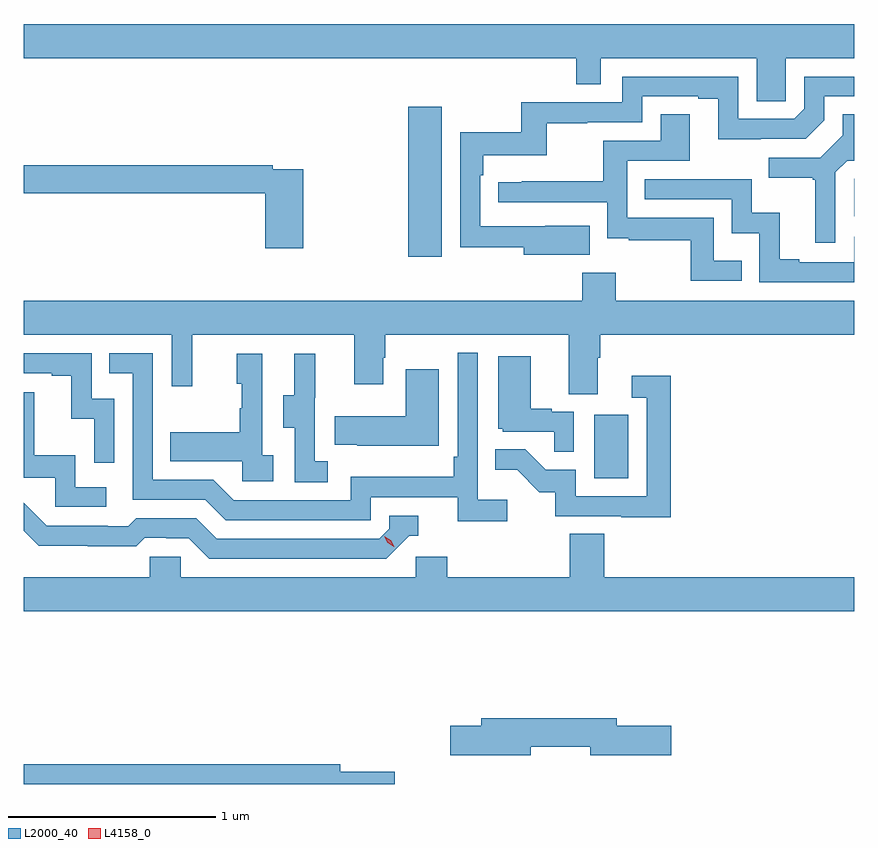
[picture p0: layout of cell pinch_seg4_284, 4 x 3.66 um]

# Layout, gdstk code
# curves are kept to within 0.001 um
import gdstk
lib = gdstk.Library(unit=1e-6, precision=1e-09)
def R(c, l, rs):  # rectangles x0, y0, x1, y1
    for r in rs: c.add(gdstk.rectangle(r[:2], r[2:], *l))
def P(c, l, *ps):  # polygons
    for p in ps: c.add(gdstk.Polygon(p, *l))
L2000_40 = (2000, 40)
L4158_0 = (4158, 0)

pinch_seg4_284 = lib.new_cell('pinch_seg4_284')
R(pinch_seg4_284, L2000_40, [(926.822,810.78,926.986,811.087), (925.928,811.848,926.089,812.569), (928.074,812.043,928.075,812.223)])
P(pinch_seg4_284, L2000_40, [(927.744,812.804),(928.075,812.804),(928.075,812.968),(924.075,812.968),(924.075,812.804),(926.737,812.804),(926.737,812.677),(926.853,812.677),(926.853,812.804),(927.605,812.804),(927.605,812.596),(927.744,812.596)],
  [(926.801,811.996),(926.274,811.995),(926.274,812.24),(926.288,812.24),(926.288,812.336),(926.593,812.336),(926.593,812.491),(926.789,812.491),(926.789,812.496),(927.054,812.496),(927.054,812.619),(927.323,812.619),(927.323,812.607),(927.419,812.607),(927.419,812.414),(927.84,812.415),(927.93,812.505),(927.93,812.619),(928.075,812.619),(928.075,812.715),(927.834,812.715),(927.834,812.559),(927.786,812.511),(927.516,812.511),(927.516,812.715),(926.958,812.715),(926.958,812.592),(926.472,812.592),(926.472,812.446),(926.178,812.446),(926.178,811.894),(926.483,811.894),(926.483,811.856),(926.801,811.856)],
  [(927.533,811.828),(927.399,811.828),(927.399,812.034),(926.982,812.034),(926.982,812.31),(927.283,812.31),(927.283,812.534),(927.143,812.534),(927.143,812.406),(926.866,812.406),(926.866,812.21),(926.473,812.21),(926.473,812.205),(926.361,812.205),(926.361,812.109),(926.886,812.109),(926.886,811.937),(926.989,811.937),(926.989,811.926),(927.288,811.926),(927.288,811.731),(927.533,811.731)],
  [(927.984,812.253),(928.041,812.31),(928.075,812.31),(928.075,812.534),(928.019,812.534),(928.019,812.432),(927.912,812.325),(927.663,812.325),(927.663,812.228),(927.876,812.228),(927.876,812.217),(927.887,812.217),(927.887,811.914),(927.984,811.914)],
  [(925.421,812.268),(925.274,812.268),(925.274,812.288),(924.075,812.288),(924.075,812.152),(925.238,812.152),(925.238,811.887),(925.421,811.887)],
  [(928.075,811.944),(928.074,811.944),(928.074,811.821),(927.811,811.821),(927.811,811.834),(927.715,811.834),(927.715,812.059),(927.582,812.059),(927.582,812.22),(927.067,812.22),(927.067,812.124),(927.486,812.124),(927.486,811.961),(927.618,811.961),(927.618,811.725),(928.075,811.725)],
  [(926.839,811.36),(926.852,811.36),(926.852,811.472),(928.075,811.472),(928.075,811.636),(926.925,811.636),(926.925,811.771),(926.765,811.771),(926.765,811.636),(924.075,811.636),(924.075,811.472),(924.789,811.472),(924.789,811.224),(924.887,811.224),(924.887,811.472),(925.667,811.472),(925.667,811.233),(925.807,811.233),(925.807,811.361),(925.815,811.361),(925.815,811.472),(926.699,811.472),(926.699,811.186),(926.839,811.186)],
  [(926.404,810.676),(926.262,810.676),(926.262,811.384),(926.166,811.384),(926.166,810.883),(926.146,810.883),(926.146,810.787),(925.65,810.787),(925.65,810.675),(925.086,810.675),(924.987,810.774),(924.696,810.774),(924.696,811.383),(924.487,811.383),(924.487,811.287),(924.6,811.287),(924.6,810.678),(924.95,810.678),(925.049,810.579),(925.746,810.579),(925.746,810.69),(926.165,810.69),(926.165,810.574),(926.404,810.574)],
  [(924.51,811.164),(924.402,811.164),(924.402,811.383),(924.075,811.383),(924.075,811.287),(924.209,811.287),(924.209,811.275),(924.305,811.275),(924.305,811.067),(924.414,811.067),(924.414,810.855),(924.51,810.855)],
  [(925.276,810.89),(925.224,810.89),(925.224,811.381),(925.1,811.381),(925.1,811.236),(925.126,811.236),(925.126,811.118),(925.116,811.118),(925.116,811.003),(924.781,811.003),(924.781,810.863),(925.128,810.863),(925.128,810.765),(925.276,810.765)],
  [(925.54,810.863),(925.476,810.863),(925.476,811.167),(925.478,811.167),(925.478,811.381),(925.379,811.381),(925.379,811.179),(925.325,811.179),(925.325,811.024),(925.38,811.024),(925.38,810.76),(925.54,810.76)],
  [(926.724,811.101),(926.618,811.101),(926.618,811.114),(926.518,811.114),(926.518,811.369),(926.36,811.369),(926.36,811.02),(926.382,811.02),(926.382,811.005),(926.629,811.005),(926.629,810.907),(926.724,810.907)],
  [(926.074,811.306),(925.916,811.306),(925.916,811.078),(925.573,811.078),(925.573,810.941),(925.681,810.941),(925.681,810.938),(926.074,810.938)],
  [(927.191,811.273),(927.003,811.273),(927.003,811.167),(927.075,811.167),(927.075,810.693),(926.733,810.693),(926.733,810.822),(926.589,810.822),(926.491,810.92),(926.347,810.92),(926.347,810.821),(926.451,810.821),(926.558,810.714),(926.635,810.714),(926.635,810.597),(926.953,810.597),(926.953,810.592),(927.191,810.592)],
  [(924.472,810.738),(924.324,810.738),(924.324,810.892),(924.125,810.892),(924.125,811.195),(924.075,811.195),(924.075,810.783),(924.228,810.783),(924.228,810.642),(924.472,810.642)],
  [(925.932,810.504),(925.975,810.504),(925.975,810.6),(925.836,810.6),(925.836,810.537),(925.788,810.489),(925.005,810.489),(924.906,810.588),(924.617,810.588),(924.578,810.549),(924.479,810.549),(924.479,810.552),(924.186,810.552),(924.075,810.663),(924.075,810.528),(924.148,810.455),(924.384,810.455),(924.384,810.453),(924.617,810.453),(924.659,810.495),(924.762,810.495),(924.762,810.492),(924.869,810.492),(924.968,810.393),(925.821,810.393)],
  [(928.075,810.304),(926.87,810.304),(926.87,810.512),(926.705,810.512),(926.705,810.304),(926.114,810.304),(926.114,810.402),(925.962,810.402),(925.962,810.304),(924.831,810.304),(924.831,810.402),(924.681,810.402),(924.681,810.304),(924.075,810.304),(924.075,810.14),(928.075,810.14)],
  [(926.518,809.488),(926.804,809.488),(926.804,809.446),(927.193,809.446),(927.193,809.588),(926.932,809.588),(926.932,809.624),(926.279,809.624),(926.279,809.588),(926.13,809.588),(926.13,809.446),(926.518,809.446)],
  [(925.861,809.366),(925.6,809.366),(925.6,809.402),(924.075,809.402),(924.075,809.308),(925.861,809.308)])
P(pinch_seg4_284, L4158_0, [(925.858,810.451),(925.828,810.47),(925.811,810.502),(925.811,810.502),(925.812,810.502),(925.842,810.483),(925.859,810.451),(925.859,810.451)])

lib.write_gds('pinch_seg4_284.gds')
